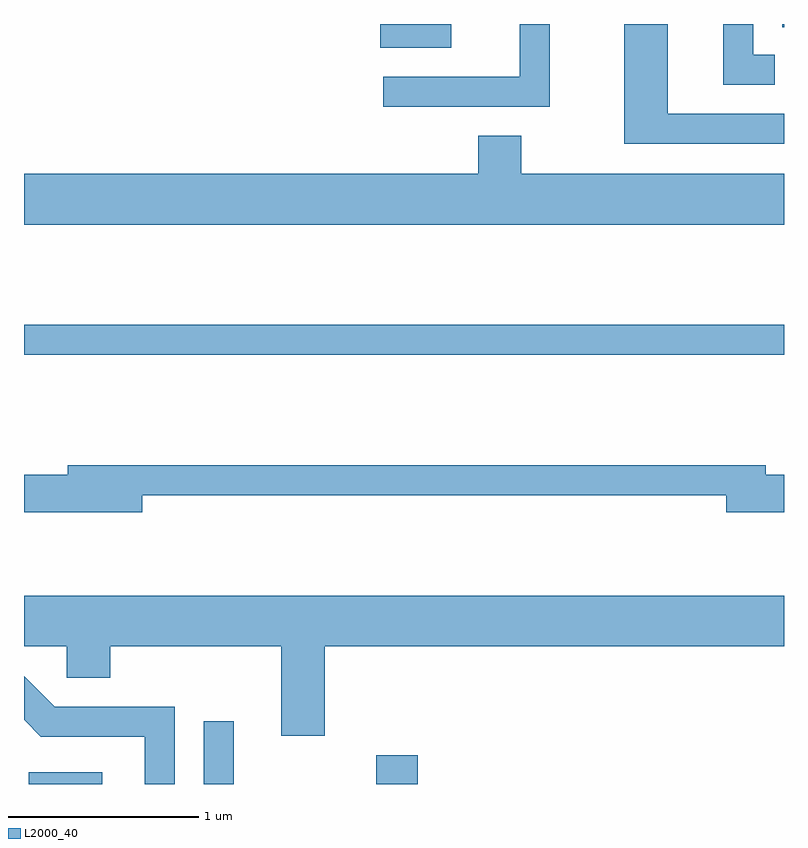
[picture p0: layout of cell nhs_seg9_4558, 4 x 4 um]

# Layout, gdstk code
import gdstk
lib = gdstk.Library(unit=1e-6, precision=1e-09)
def R(c, l, rs):  # rectangles x0, y0, x1, y1
    for r in rs: c.add(gdstk.rectangle(r[:2], r[2:], *l))
def P(c, l, *ps):  # polygons
    for p in ps: c.add(gdstk.Polygon(p, *l))
L2000_40 = (2000, 40)

nhs_seg9_4558 = lib.new_cell('nhs_seg9_4558')
R(nhs_seg9_4558, L2000_40, [(319.636,1984.432,320.024,1984.494), (320.556,1984.432,320.714,1984.763), (321.466,1984.432,321.684,1984.584), (319.611,1986.691,323.611,1986.849), (321.486,1988.306,321.859,1988.432), (323.601,1988.416,323.611,1988.432)])
P(nhs_seg9_4558, L2000_40, [(323.611,1987.959),(322.999,1987.959),(322.999,1988.432),(322.771,1988.432),(322.771,1987.801),(323.611,1987.801)],
  [(322.379,1988.432),(322.221,1988.432),(322.221,1988.154),(321.503,1988.154),(321.503,1987.996),(322.379,1987.996)],
  [(323.563,1988.269),(323.449,1988.269),(323.449,1988.432),(323.291,1988.432),(323.291,1988.111),(323.563,1988.111)],
  [(323.611,1987.644),(322.229,1987.644),(322.229,1987.844),(322.001,1987.844),(322.001,1987.644),(319.611,1987.644),(319.611,1987.376),(323.611,1987.376)],
  [(320.234,1985.951),(323.306,1985.951),(323.306,1985.861),(323.611,1985.861),(323.611,1986.059),(323.514,1986.059),(323.514,1986.109),(319.841,1986.109),(319.841,1986.059),(319.611,1986.059),(319.611,1985.861),(320.234,1985.861)],
  [(321.194,1985.156),(323.611,1985.156),(323.611,1985.424),(319.611,1985.424),(319.611,1985.156),(319.836,1985.156),(319.836,1984.991),(320.064,1984.991),(320.064,1985.156),(320.966,1985.156),(320.966,1984.686),(321.194,1984.686)],
  [(320.404,1984.839),(319.772,1984.839),(319.612,1984.999),(319.611,1984.999),(319.611,1984.769),(319.699,1984.681),(320.246,1984.681),(320.246,1984.432),(320.404,1984.432)])

lib.write_gds('nhs_seg9_4558.gds')
